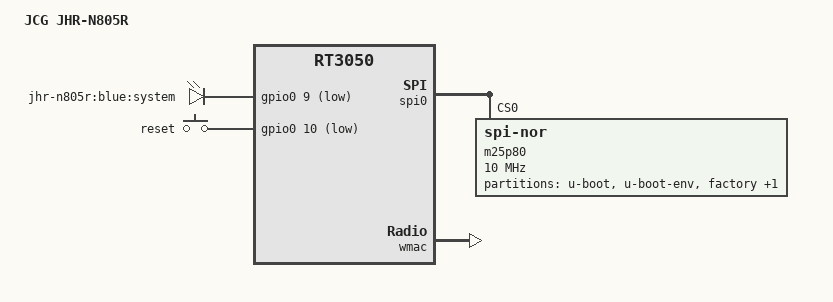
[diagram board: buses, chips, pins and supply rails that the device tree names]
/dts-v1/;

#include "rt3050.dtsi"

#include <dt-bindings/gpio/gpio.h>
#include <dt-bindings/input/input.h>

/ {
	compatible = "jcg,jhr-n805r", "ralink,rt3050-soc";
	model = "JCG JHR-N805R";

	aliases {
		led-boot = &led_system;
		led-failsafe = &led_system;
		led-running = &led_system;
		led-upgrade = &led_system;
	};

	leds {
		compatible = "gpio-leds";

		led_system: system {
			label = "jhr-n805r:blue:system";
			gpios = <&gpio0 9 GPIO_ACTIVE_LOW>;
		};
	};

	keys {
		compatible = "gpio-keys-polled";
		poll-interval = <20>;

		reset {
			label = "reset";
			gpios = <&gpio0 10 GPIO_ACTIVE_LOW>;
			linux,code = <KEY_RESTART>;
		};
	};
};

&state_default {
	gpio {
		ralink,group = "i2c", "jtag", "rgmii", "mdio", "uartf";
		ralink,function = "gpio";
	};
};

&spi0 {
	status = "okay";

	m25p80@0 {
		compatible = "jedec,spi-nor";
		reg = <0>;
		spi-max-frequency = <10000000>;

		partitions {
			compatible = "fixed-partitions";
			#address-cells = <1>;
			#size-cells = <1>;

			partition@0 {
				label = "u-boot";
				reg = <0x0 0x30000>;
				read-only;
			};

			partition@30000 {
				label = "u-boot-env";
				reg = <0x30000 0x10000>;
				read-only;
			};

			factory: partition@40000 {
				label = "factory";
				reg = <0x40000 0x10000>;
				read-only;
			};

			partition@50000 {
				compatible = "denx,uimage";
				label = "firmware";
				reg = <0x50000 0x3b0000>;
			};
		};
	};
};

&ethernet {
	mtd-mac-address = <&factory 0x2e>;
};

&esw {
	mediatek,portmap = <0x3e>;
};

&wmac {
	ralink,mtd-eeprom = <&factory 0>;
};
